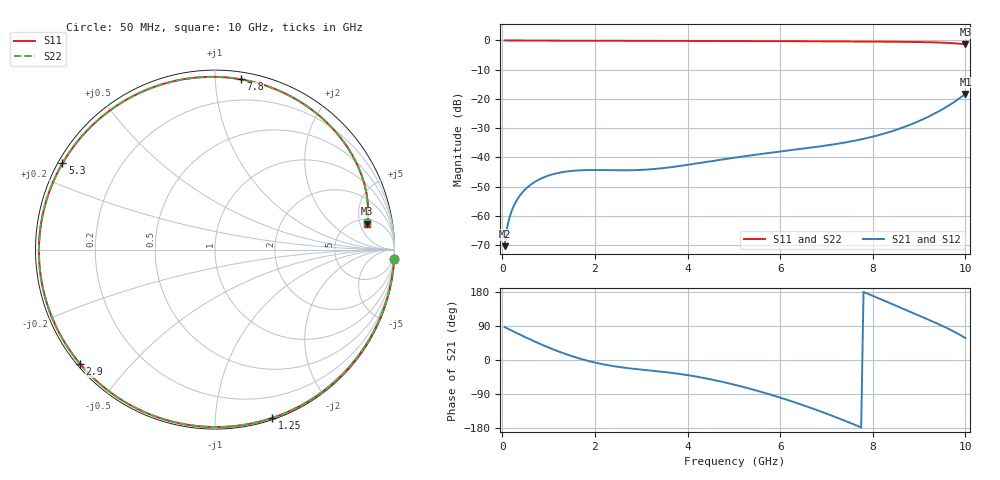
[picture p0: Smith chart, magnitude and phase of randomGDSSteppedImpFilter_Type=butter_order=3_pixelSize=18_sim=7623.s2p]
! freq	dB(S11)	phase(S11)	dB(S12)	phase(S12)
!  dB(S21)	phase(S21)	dB(S22)	phase(S22)
!S-par simulation data
#  GHz  S  DB  R 50
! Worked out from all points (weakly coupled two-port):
!   200 points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, 50 MHz to 10 GHz, reference 50 ohm
!   highest |S21| = -18.26 dB at 10 GHz (marker M1); lowest = -70.3 dB at 50 MHz (marker M2)
!   lowest |S11| = -1.3 dB at 10 GHz (marker M3), VSWR 13.23, Z = 296 + j327 ohm
!   |S11| at or under -10 dB: nowhere
!   |S22| runs from -1.3 to 0.0 dB; largest |S21 - S12| = 0
!   S11 on the Smith chart (normalised r, x): 50 MHz: 0, -37; 1.25 GHz: 0.01, -1.39; 2.9 GHz: 0.01, -0.37; 5.3 GHz: 0.01, +0.26; 7.8 GHz: 0.05, +1.16; 10 GHz: 5.93, +6.54
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0.05  -0.00 -3.1  -70.32 86.9  -70.32 86.9  -0.00 -3.1
0.1  -0.01 -6.1  -64.31 83.8  -64.31 83.8  -0.01 -6.1
0.15  -0.01 -9.2  -60.82 80.8  -60.82 80.8  -0.01 -9.2
0.25  -0.02 -15.2  -56.48 74.7  -56.48 74.7  -0.02 -15.2
0.4  -0.04 -24.2  -52.60 65.8  -52.60 65.8  -0.04 -24.2
0.75  -0.06 -44.5  -47.90 46.0  -47.90 46.0  -0.06 -44.5
1.25  -0.08 -71.4  -45.15 20.9  -45.15 20.9  -0.08 -71.3
1.75  -0.10 -95.2  -44.35 1.0  -44.35 1.0  -0.10 -95.1
2.35  -0.12 -119.9  -44.36 -15.2  -44.36 -15.2  -0.12 -119.9
2.9  -0.13 -139.7  -44.31 -24.1  -44.31 -24.1  -0.13 -139.6
3.4  -0.14 -156.0  -43.76 -30.3  -43.76 -30.3  -0.14 -155.8
4.2  -0.16 -179.5  -42.04 -44.0  -42.04 -44.0  -0.16 -179.4
5.05  -0.20 157.2  -39.98 -66.3  -39.98 -66.3  -0.20 157.4
5.3  -0.21 150.5  -39.42 -74.3  -39.42 -74.3  -0.21 150.7
6.05  -0.24 130.4  -37.87 -101.2  -37.87 -101.2  -0.24 130.7
6.7  -0.28 112.8  -36.56 -128.0  -36.56 -128.0  -0.28 113.1
7.25  -0.31 97.4  -35.29 -153.2  -35.29 -153.2  -0.31 97.8
7.8  -0.36 81.5  -33.63 179.6  -33.63 179.6  -0.36 81.9
8.35  -0.42 64.9  -31.34 151.2  -31.34 151.2  -0.42 65.4
9.3  -0.65 34.4  -25.28 101.2  -25.28 101.2  -0.64 34.9
9.7  -0.91 20.5  -21.63 78.3  -21.63 78.3  -0.91 21.0
10  -1.32 9.7  -18.26 57.8  -18.26 57.8  -1.31 10.2
